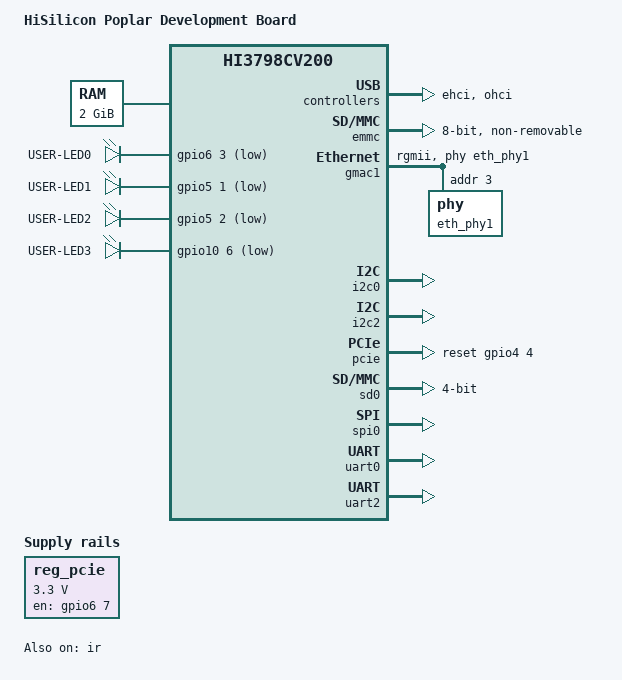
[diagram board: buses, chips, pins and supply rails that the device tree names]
/*
 * DTS File for HiSilicon Poplar Development Board
 *
 * Copyright (c) 2016-2017 HiSilicon Technologies Co., Ltd.
 *
 * Released under the GPLv2 only.
 * SPDX-License-Identifier: GPL-2.0
 */

/dts-v1/;

#include <dt-bindings/gpio/gpio.h>
#include "hi3798cv200.dtsi"
#include "poplar-pinctrl.dtsi"

/ {
	model = "HiSilicon Poplar Development Board";
	compatible = "hisilicon,hi3798cv200-poplar", "hisilicon,hi3798cv200";

	aliases {
		serial0 = &uart0;
		serial2 = &uart2;
	};

	chosen {
		stdout-path = "serial0:115200n8";
	};

	memory@0 {
		device_type = "memory";
		reg = <0x0 0x0 0x0 0x80000000>;
	};

	leds {
		compatible = "gpio-leds";

		user-led0 {
			label = "USER-LED0";
			gpios = <&gpio6 3 GPIO_ACTIVE_LOW>;
			linux,default-trigger = "heartbeat";
			default-state = "off";
		};

		user-led1 {
			label = "USER-LED1";
			gpios = <&gpio5 1 GPIO_ACTIVE_LOW>;
			linux,default-trigger = "mmc0";
			default-state = "off";
		};

		user-led2 {
			label = "USER-LED2";
			gpios = <&gpio5 2 GPIO_ACTIVE_LOW>;
			linux,default-trigger = "none";
			default-state = "off";
		};

		user-led3 {
			label = "USER-LED3";
			gpios = <&gpio10 6 GPIO_ACTIVE_LOW>;
			linux,default-trigger = "cpu0";
			default-state = "off";
		};
	};

	reg_pcie: regulator-pcie {
		compatible = "regulator-fixed";
		regulator-name = "3V3_PCIE0";
		regulator-min-microvolt = <3300000>;
		regulator-max-microvolt = <3300000>;
		gpio = <&gpio6 7 0>;
		enable-active-high;
	};
};

&ehci {
	status = "okay";
};

&emmc {
	pinctrl-names = "default";
	pinctrl-0 = <&emmc_pins_1 &emmc_pins_2
		     &emmc_pins_3 &emmc_pins_4>;
	fifo-depth = <256>;
	clock-frequency = <200000000>;
	cap-mmc-highspeed;
	mmc-ddr-1_8v;
	mmc-hs200-1_8v;
	non-removable;
	bus-width = <8>;
	status = "okay";
};

&gmac1 {
	status = "okay";
	#address-cells = <1>;
	#size-cells = <0>;
	phy-handle = <&eth_phy1>;
	phy-mode = "rgmii";
	hisilicon,phy-reset-delays-us = <10000 10000 30000>;

	eth_phy1: phy@3 {
		reg = <3>;
	};
};

&gpio1 {
	status = "okay";
	gpio-line-names = "GPIO-E",	"",
			  "",		"",
			  "",		"GPIO-F",
			  "",		"GPIO-J";
};

&gpio2 {
	status = "okay";
	gpio-line-names = "GPIO-H",	"GPIO-I",
			  "GPIO-L",	"GPIO-G",
			  "GPIO-K",	"",
			  "",		"";
};

&gpio3 {
	status = "okay";
	gpio-line-names = "",		"",
			  "",		"",
			  "GPIO-C",	"",
			  "",		"GPIO-B";
};

&gpio4 {
	status = "okay";
	gpio-line-names = "",		"",
			  "",		"",
			  "",		"GPIO-D",
			  "",		"";
};

&gpio5 {
	status = "okay";
	gpio-line-names = "",		"USER-LED-1",
			  "USER-LED-2",	"",
			  "",		"GPIO-A",
			  "",		"";
};

&gpio6 {
	status = "okay";
	gpio-line-names = "",		"",
			  "",		"USER-LED-0",
			  "",		"",
			  "",		"";
};

&gpio10 {
	status = "okay";
	gpio-line-names = "",		"",
			  "",		"",
			  "",		"",
			  "USER-LED-3",	"";
};

&i2c0 {
	status = "okay";
	label = "LS-I2C0";
};

&i2c2 {
	status = "okay";
	label = "LS-I2C1";
};

&ir {
	status = "okay";
};

&ohci {
	status = "okay";
};

&pcie {
	reset-gpios = <&gpio4 4 GPIO_ACTIVE_HIGH>;
	vpcie-supply = <&reg_pcie>;
	status = "okay";
};

&sd0 {
	bus-width = <4>;
	cap-sd-highspeed;
	status = "okay";
};

&spi0 {
	status = "okay";
	label = "LS-SPI0";
};

&uart0 {
	status = "okay";
};

&uart2 {
	status = "okay";
	label = "LS-UART0";
};
/* No optional LS-UART1 on Low Speed Expansion Connector. */
